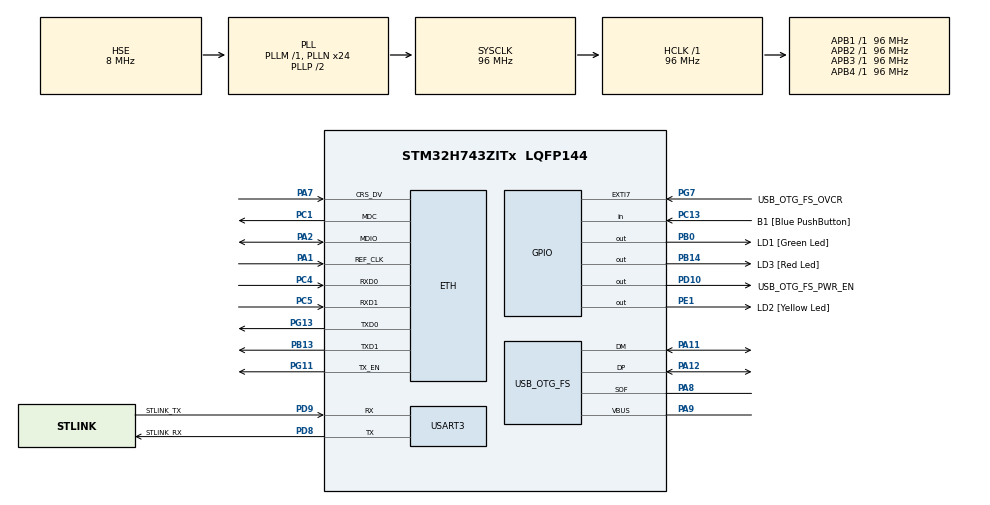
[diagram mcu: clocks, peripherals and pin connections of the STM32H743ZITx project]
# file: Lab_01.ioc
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ETH.MediaInterface=HAL_ETH_RMII_MODE
Mcu.Family=STM32H7
Mcu.Name=STM32H743ZITx
Mcu.Package=LQFP144
NVIC.PriorityGroup=NVIC_PRIORITYGROUP_4
PA1.Mode=RMII
PA1.Signal=ETH_REF_CLK
PA11.Mode=Device_Only
PA11.Signal=USB_OTG_FS_DM
PA12.Mode=Device_Only
PA12.Signal=USB_OTG_FS_DP
PA2.Mode=RMII
PA2.Signal=ETH_MDIO
PA7.Mode=RMII
PA7.Signal=ETH_CRS_DV
PA8.Mode=Activate_SOF_FS
PA8.Signal=USB_OTG_FS_SOF
PA9.Mode=Activate_VBUS
PA9.Signal=USB_OTG_FS_VBUS
PB0.GPIO_Label=LD1 [Green Led]
PB0.Signal=GPIO_Output
PB13.Mode=RMII
PB13.Signal=ETH_TXD1
PB14.GPIO_Label=LD3 [Red Led]
PB14.Signal=GPIO_Output
PC1.Mode=RMII
PC1.Signal=ETH_MDC
PC13.GPIO_Label=B1 [Blue PushButton]
PC13.Signal=GPIO_Input
PC14-OSC32_IN\ (OSC32_IN).Mode=LSE-External-Oscillator
PC14-OSC32_IN\ (OSC32_IN).Signal=RCC_OSC32_IN
PC15-OSC32_OUT\ (OSC32_OUT).Mode=LSE-External-Oscillator
PC15-OSC32_OUT\ (OSC32_OUT).Signal=RCC_OSC32_OUT
PC4.Mode=RMII
PC4.Signal=ETH_RXD0
PC5.Mode=RMII
PC5.Signal=ETH_RXD1
PD10.GPIO_Label=USB_OTG_FS_PWR_EN
PD10.Signal=GPIO_Output
PD8.GPIO_Label=STLINK_RX
PD8.Mode=Asynchronous
PD8.Signal=USART3_TX
PD9.GPIO_Label=STLINK_TX
PD9.Mode=Asynchronous
PD9.Signal=USART3_RX
PE1.GPIO_Label=LD2 [Yellow Led]
PE1.Signal=GPIO_Output
PG11.Mode=RMII
PG11.Signal=ETH_TX_EN
PG13.Mode=RMII
PG13.Signal=ETH_TXD0
PG7.GPIO_Label=USB_OTG_FS_OVCR
PG7.Signal=GPXTI7
PH0-OSC_IN\ (PH0).Mode=HSE-External-Clock-Source
PH0-OSC_IN\ (PH0).Signal=RCC_OSC_IN
PH1-OSC_OUT\ (PH1).Signal=RCC_OSC_OUT
ProjectManager.HeapSize=0x200
ProjectManager.StackSize=0x400
ProjectManager.TargetToolchain=STM32CubeIDE
RCC.ADCFreq_Value=16125000
RCC.APB1Freq_Value=96000000
RCC.APB2Freq_Value=96000000
RCC.APB3Freq_Value=96000000
RCC.APB4Freq_Value=96000000
RCC.CortexFreq_Value=96000000
RCC.DIVM1=1
RCC.DIVN1=24
RCC.DIVQ1=4
RCC.HCLKFreq_Value=96000000
RCC.HSE_VALUE=8000000
RCC.PLLFRACN=0
RCC.SYSCLKFreq_VALUE=96000000
RCC.SYSCLKSource=RCC_SYSCLKSOURCE_PLLCLK
RCC.USBFreq_Value=48000000
USART3.VirtualMode-Asynchronous=VM_ASYNC
USB_OTG_FS.VirtualMode=Device_Only
board=NUCLEO-H743ZI2

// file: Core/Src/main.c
/* USER CODE BEGIN Header */
/**
  ******************************************************************************
  * @file           : main.c
  * @brief          : Main program body
  ******************************************************************************
  * @attention
  *
  * <h2><center>&copy; Copyright (c) 2020 STMicroelectronics.
  * All rights reserved.</center></h2>
  *
  * This software component is licensed by ST under BSD 3-Clause license,
  * the "License"; You may not use this file except in compliance with the
  * License. You may obtain a copy of the License at:
  *                        opensource.org/licenses/BSD-3-Clause
  *
  ******************************************************************************
  */
/* USER CODE END Header */
#include "main.h"
#include "string.h"

#if defined ( __ICCARM__ ) /*!< IAR Compiler */

#pragma location=0x30040000
ETH_DMADescTypeDef  DMARxDscrTab[ETH_RX_DESC_CNT]; /* Ethernet Rx DMA Descriptors */
#pragma location=0x30040060
ETH_DMADescTypeDef  DMATxDscrTab[ETH_TX_DESC_CNT]; /* Ethernet Tx DMA Descriptors */
#pragma location=0x30040200
uint8_t Rx_Buff[ETH_RX_DESC_CNT][ETH_MAX_PACKET_SIZE]; /* Ethernet Receive Buffers */

#elif defined ( __CC_ARM )  /* MDK ARM Compiler */

__attribute__((at(0x30040000))) ETH_DMADescTypeDef  DMARxDscrTab[ETH_RX_DESC_CNT]; /* Ethernet Rx DMA Descriptors */
__attribute__((at(0x30040060))) ETH_DMADescTypeDef  DMATxDscrTab[ETH_TX_DESC_CNT]; /* Ethernet Tx DMA Descriptors */
__attribute__((at(0x30040200))) uint8_t Rx_Buff[ETH_RX_DESC_CNT][ETH_MAX_PACKET_SIZE]; /* Ethernet Receive Buffer */

#elif defined ( __GNUC__ ) /* GNU Compiler */

ETH_DMADescTypeDef DMARxDscrTab[ETH_RX_DESC_CNT] __attribute__((section(".RxDecripSection"))); /* Ethernet Rx DMA Descriptors */
ETH_DMADescTypeDef DMATxDscrTab[ETH_TX_DESC_CNT] __attribute__((section(".TxDecripSection")));   /* Ethernet Tx DMA Descriptors */
uint8_t Rx_Buff[ETH_RX_DESC_CNT][ETH_MAX_PACKET_SIZE] __attribute__((section(".RxArraySection"))); /* Ethernet Receive Buffers */

#endif

ETH_TxPacketConfig TxConfig;

ETH_HandleTypeDef heth;

UART_HandleTypeDef huart3;

PCD_HandleTypeDef hpcd_USB_OTG_FS;

void SystemClock_Config(void);
static void MX_GPIO_Init(void);
static void MX_ETH_Init(void);
static void MX_USART3_UART_Init(void);
static void MX_USB_OTG_FS_PCD_Init(void);

/* USER CODE BEGIN 0 */
#include <math.h>
#define PI 			3.1415926
#define ARRAYLENGTH 128
#define FREQ_S   	80e3
#define FREQ		2.5e3
#define LOOPLENGTH  32
#define theta 		2*PI*FREQ/FREQ_S

int 	reference_sine_1[ARRAYLENGTH];
int 	reference_sine_2[ARRAYLENGTH];
int 	reference_sine_3[ARRAYLENGTH];
int 	mag_print;

float	A1	  = 2*cos(theta);
float	A2	  = -1;
float	x	  = sin(theta);
float	y_1	  = 0;
float	y_2	  = 0;

void sine_by_lookup();

// Look-up table
int sine_table[LOOPLENGTH] = {0, 799, 1567, 2276, 2896, 3406, 3784, 4017, 4096, 4017,
		3784, 3406, 2896, 2276, 1567, 799, 0, -799, -1567, -2276, -2896, -3406, -3784,
		-4017, -4096, -4017, -3784, -3406, -2896, -2276, -1567, -799};
/* USER CODE END 0 */

int main(void)
{

  /* MCU Configuration--------------------------------------------------------*/

  /* Reset of all peripherals, Initializes the Flash interface and the Systick. */
  HAL_Init();

  /* Configure the system clock */
  SystemClock_Config();

  /* Initialize all configured peripherals */
  MX_GPIO_Init();
  MX_ETH_Init();
  MX_USART3_UART_Init();
  MX_USB_OTG_FS_PCD_Init();
  /* USER CODE BEGIN 2 */
  // Step 1
  // Generate sine wave using math function
  for(int i=0; i<ARRAYLENGTH; i++){
	  reference_sine_1[i] = 4096*sin(i*2*PI/(ARRAYLENGTH/4));
  }
  // Display the sine signal
  for(int i=0; i<ARRAYLENGTH; i++){
	  mag_print = reference_sine_1[i];
	  HAL_Delay(10);
  }
  // Step 2
  HAL_Delay(1000);
  // Generate sine wave using lookup table
  sine_by_lookup();
  // Step 3
  HAL_Delay(1000);
  // Generate sine wave using difference equation
  float y_n = x + A1*y_1 + A2*y_2;
  for(int i=0; i<ARRAYLENGTH; i++){
	  reference_sine_3[i] = 4096*y_n;
	  y_2 = y_1;
	  y_1 = y_n;
	  y_n = 0 + A1*y_1 + A2*y_2;
  }
  // Display the sine signal
  for(int i=0; i<ARRAYLENGTH; i++){
	  mag_print = reference_sine_3[i];
	  HAL_Delay(10);
  }
  /* USER CODE END 2 */

  /* Infinite loop */
  while (1)
  {

  }
}

// Sine lookup table function
void sine_by_lookup()
{
  // Generate sine wave using lookup table
  for(int i=0; i<ARRAYLENGTH; i++){
	  reference_sine_2[i] = sine_table[i%LOOPLENGTH];
  }
  // Display the sine signal
  for(int i=0; i<ARRAYLENGTH; i++){
	  mag_print = reference_sine_2[i];
	  HAL_Delay(10);
  }
}

void SystemClock_Config(void)
{
  RCC_OscInitTypeDef RCC_OscInitStruct = {0};
  RCC_ClkInitTypeDef RCC_ClkInitStruct = {0};
  RCC_PeriphCLKInitTypeDef PeriphClkInitStruct = {0};

  /** Supply configuration update enable
  */
  HAL_PWREx_ConfigSupply(PWR_LDO_SUPPLY);
  /** Configure the main internal regulator output voltage
  */
  __HAL_PWR_VOLTAGESCALING_CONFIG(PWR_REGULATOR_VOLTAGE_SCALE3);

  while(!__HAL_PWR_GET_FLAG(PWR_FLAG_VOSRDY)) {}
  /** Initializes the RCC Oscillators according to the specified parameters
  * in the RCC_OscInitTypeDef structure.
  */
  RCC_OscInitStruct.OscillatorType = RCC_OSCILLATORTYPE_HSE;
  RCC_OscInitStruct.HSEState = RCC_HSE_BYPASS;
  RCC_OscInitStruct.PLL.PLLState = RCC_PLL_ON;
  RCC_OscInitStruct.PLL.PLLSource = RCC_PLLSOURCE_HSE;
  RCC_OscInitStruct.PLL.PLLM = 1;
  RCC_OscInitStruct.PLL.PLLN = 24;
  RCC_OscInitStruct.PLL.PLLP = 2;
  RCC_OscInitStruct.PLL.PLLQ = 4;
  RCC_OscInitStruct.PLL.PLLR = 2;
  RCC_OscInitStruct.PLL.PLLRGE = RCC_PLL1VCIRANGE_3;
  RCC_OscInitStruct.PLL.PLLVCOSEL = RCC_PLL1VCOWIDE;
  RCC_OscInitStruct.PLL.PLLFRACN = 0;
  if (HAL_RCC_OscConfig(&RCC_OscInitStruct) != HAL_OK)
  {
    Error_Handler();
  }
  /** Initializes the CPU, AHB and APB buses clocks
  */
  RCC_ClkInitStruct.ClockType = RCC_CLOCKTYPE_HCLK|RCC_CLOCKTYPE_SYSCLK
                              |RCC_CLOCKTYPE_PCLK1|RCC_CLOCKTYPE_PCLK2
                              |RCC_CLOCKTYPE_D3PCLK1|RCC_CLOCKTYPE_D1PCLK1;
  RCC_ClkInitStruct.SYSCLKSource = RCC_SYSCLKSOURCE_PLLCLK;
  RCC_ClkInitStruct.SYSCLKDivider = RCC_SYSCLK_DIV1;
  RCC_ClkInitStruct.AHBCLKDivider = RCC_HCLK_DIV1;
  RCC_ClkInitStruct.APB3CLKDivider = RCC_APB3_DIV1;
  RCC_ClkInitStruct.APB1CLKDivider = RCC_APB1_DIV1;
  RCC_ClkInitStruct.APB2CLKDivider = RCC_APB2_DIV1;
  RCC_ClkInitStruct.APB4CLKDivider = RCC_APB4_DIV1;

  if (HAL_RCC_ClockConfig(&RCC_ClkInitStruct, FLASH_LATENCY_1) != HAL_OK)
  {
    Error_Handler();
  }
  PeriphClkInitStruct.PeriphClockSelection = RCC_PERIPHCLK_USART3|RCC_PERIPHCLK_USB;
  PeriphClkInitStruct.Usart234578ClockSelection = RCC_USART234578CLKSOURCE_D2PCLK1;
  PeriphClkInitStruct.UsbClockSelection = RCC_USBCLKSOURCE_PLL;
  if (HAL_RCCEx_PeriphCLKConfig(&PeriphClkInitStruct) != HAL_OK)
  {
    Error_Handler();
  }
  /** Enable USB Voltage detector
  */
  HAL_PWREx_EnableUSBVoltageDetector();
}

static void MX_ETH_Init(void)
{

  heth.Instance = ETH;
  heth.Init.MACAddr[0] =   0x00;
  heth.Init.MACAddr[1] =   0x80;
  heth.Init.MACAddr[2] =   0xE1;
  heth.Init.MACAddr[3] =   0x00;
  heth.Init.MACAddr[4] =   0x00;
  heth.Init.MACAddr[5] =   0x00;
  heth.Init.MediaInterface = HAL_ETH_RMII_MODE;
  heth.Init.TxDesc = DMATxDscrTab;
  heth.Init.RxDesc = DMARxDscrTab;
  heth.Init.RxBuffLen = 1524;

  if (HAL_ETH_Init(&heth) != HAL_OK)
  {
    Error_Handler();
  }

  memset(&TxConfig, 0 , sizeof(ETH_TxPacketConfig));
  TxConfig.Attributes = ETH_TX_PACKETS_FEATURES_CSUM | ETH_TX_PACKETS_FEATURES_CRCPAD;
  TxConfig.ChecksumCtrl = ETH_CHECKSUM_IPHDR_PAYLOAD_INSERT_PHDR_CALC;
  TxConfig.CRCPadCtrl = ETH_CRC_PAD_INSERT;

}

static void MX_USART3_UART_Init(void)
{

  huart3.Instance = USART3;
  huart3.Init.BaudRate = 115200;
  huart3.Init.WordLength = UART_WORDLENGTH_8B;
  huart3.Init.StopBits = UART_STOPBITS_1;
  huart3.Init.Parity = UART_PARITY_NONE;
  huart3.Init.Mode = UART_MODE_TX_RX;
  huart3.Init.HwFlowCtl = UART_HWCONTROL_NONE;
  huart3.Init.OverSampling = UART_OVERSAMPLING_16;
  huart3.Init.OneBitSampling = UART_ONE_BIT_SAMPLE_DISABLE;
  huart3.Init.ClockPrescaler = UART_PRESCALER_DIV1;
  huart3.AdvancedInit.AdvFeatureInit = UART_ADVFEATURE_NO_INIT;
  if (HAL_UART_Init(&huart3) != HAL_OK)
  {
    Error_Handler();
  }
  if (HAL_UARTEx_SetTxFifoThreshold(&huart3, UART_TXFIFO_THRESHOLD_1_8) != HAL_OK)
  {
    Error_Handler();
  }
  if (HAL_UARTEx_SetRxFifoThreshold(&huart3, UART_RXFIFO_THRESHOLD_1_8) != HAL_OK)
  {
    Error_Handler();
  }
  if (HAL_UARTEx_DisableFifoMode(&huart3) != HAL_OK)
  {
    Error_Handler();
  }

}

static void MX_USB_OTG_FS_PCD_Init(void)
{

  hpcd_USB_OTG_FS.Instance = USB_OTG_FS;
  hpcd_USB_OTG_FS.Init.dev_endpoints = 9;
  hpcd_USB_OTG_FS.Init.speed = PCD_SPEED_FULL;
  hpcd_USB_OTG_FS.Init.dma_enable = DISABLE;
  hpcd_USB_OTG_FS.Init.phy_itface = PCD_PHY_EMBEDDED;
  hpcd_USB_OTG_FS.Init.Sof_enable = ENABLE;
  hpcd_USB_OTG_FS.Init.low_power_enable = DISABLE;
  hpcd_USB_OTG_FS.Init.lpm_enable = DISABLE;
  hpcd_USB_OTG_FS.Init.battery_charging_enable = ENABLE;
  hpcd_USB_OTG_FS.Init.vbus_sensing_enable = ENABLE;
  hpcd_USB_OTG_FS.Init.use_dedicated_ep1 = DISABLE;
  if (HAL_PCD_Init(&hpcd_USB_OTG_FS) != HAL_OK)
  {
    Error_Handler();
  }

}

static void MX_GPIO_Init(void)
{
  GPIO_InitTypeDef GPIO_InitStruct = {0};

  /* GPIO Ports Clock Enable */
  __HAL_RCC_GPIOC_CLK_ENABLE();
  __HAL_RCC_GPIOH_CLK_ENABLE();
  __HAL_RCC_GPIOA_CLK_ENABLE();
  __HAL_RCC_GPIOB_CLK_ENABLE();
  __HAL_RCC_GPIOD_CLK_ENABLE();
  __HAL_RCC_GPIOG_CLK_ENABLE();
  __HAL_RCC_GPIOE_CLK_ENABLE();

  /*Configure GPIO pin Output Level */
  HAL_GPIO_WritePin(GPIOB, LD1_Pin|LD3_Pin, GPIO_PIN_RESET);

  /*Configure GPIO pin Output Level */
  HAL_GPIO_WritePin(USB_OTG_FS_PWR_EN_GPIO_Port, USB_OTG_FS_PWR_EN_Pin, GPIO_PIN_RESET);

  /*Configure GPIO pin Output Level */
  HAL_GPIO_WritePin(LD2_GPIO_Port, LD2_Pin, GPIO_PIN_RESET);

  /*Configure GPIO pin : B1_Pin */
  GPIO_InitStruct.Pin = B1_Pin;
  GPIO_InitStruct.Mode = GPIO_MODE_INPUT;
  GPIO_InitStruct.Pull = GPIO_NOPULL;
  HAL_GPIO_Init(B1_GPIO_Port, &GPIO_InitStruct);

  /*Configure GPIO pins : LD1_Pin LD3_Pin */
  GPIO_InitStruct.Pin = LD1_Pin|LD3_Pin;
  GPIO_InitStruct.Mode = GPIO_MODE_OUTPUT_PP;
  GPIO_InitStruct.Pull = GPIO_NOPULL;
  GPIO_InitStruct.Speed = GPIO_SPEED_FREQ_LOW;
  HAL_GPIO_Init(GPIOB, &GPIO_InitStruct);

  /*Configure GPIO pin : USB_OTG_FS_PWR_EN_Pin */
  GPIO_InitStruct.Pin = USB_OTG_FS_PWR_EN_Pin;
  GPIO_InitStruct.Mode = GPIO_MODE_OUTPUT_PP;
  GPIO_InitStruct.Pull = GPIO_NOPULL;
  GPIO_InitStruct.Speed = GPIO_SPEED_FREQ_LOW;
  HAL_GPIO_Init(USB_OTG_FS_PWR_EN_GPIO_Port, &GPIO_InitStruct);

  /*Configure GPIO pin : USB_OTG_FS_OVCR_Pin */
  GPIO_InitStruct.Pin = USB_OTG_FS_OVCR_Pin;
  GPIO_InitStruct.Mode = GPIO_MODE_IT_RISING;
  GPIO_InitStruct.Pull = GPIO_NOPULL;
  HAL_GPIO_Init(USB_OTG_FS_OVCR_GPIO_Port, &GPIO_InitStruct);

  /*Configure GPIO pin : LD2_Pin */
  GPIO_InitStruct.Pin = LD2_Pin;
  GPIO_InitStruct.Mode = GPIO_MODE_OUTPUT_PP;
  GPIO_InitStruct.Pull = GPIO_NOPULL;
  GPIO_InitStruct.Speed = GPIO_SPEED_FREQ_LOW;
  HAL_GPIO_Init(LD2_GPIO_Port, &GPIO_InitStruct);

}

void Error_Handler(void)
{
}

/************************ (C) COPYRIGHT STMicroelectronics *****END OF FILE****/
